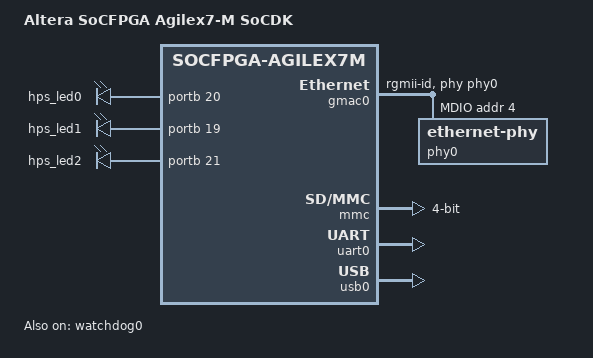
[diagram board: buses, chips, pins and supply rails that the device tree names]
// SPDX-License-Identifier: GPL-2.0
// Copyright (c) 2026 Altera Corporation

#include "socfpga_agilex.dtsi"

/ {
	model = "Altera SoCFPGA Agilex7-M SoCDK";
	compatible = "altr,socfpga-agilex7m-socdk",
		     "altr,socfpga-agilex7m";

	aliases {
		serial0 = &uart0;
		ethernet0 = &gmac0;
		ethernet1 = &gmac1;
		ethernet2 = &gmac2;
	};

	chosen {
		stdout-path = "serial0:115200n8";
	};

	leds {
		compatible = "gpio-leds";
		led-0 {
			label = "hps_led0";
			gpios = <&portb 20 GPIO_ACTIVE_HIGH>;
		};

		led-1 {
			label = "hps_led1";
			gpios = <&portb 19 GPIO_ACTIVE_HIGH>;
		};

		led-2 {
			label = "hps_led2";
			gpios = <&portb 21 GPIO_ACTIVE_HIGH>;
		};
	};

	memory@80000000 {
		device_type = "memory";
		/* We expect the bootloader to fill in the reg */
		reg = <0 0x80000000 0 0>;
	};
};

&gpio1 {
	status = "okay";
};

&gmac0 {
	status = "okay";
	phy-mode = "rgmii-id";
	phy-handle = <&phy0>;

	max-frame-size = <9000>;

	mdio0 {
		#address-cells = <1>;
		#size-cells = <0>;
		compatible = "snps,dwmac-mdio";
		phy0: ethernet-phy@4 {
			reg = <4>;

			txd0-skew-ps = <0>; /* -420ps */
			txd1-skew-ps = <0>; /* -420ps */
			txd2-skew-ps = <0>; /* -420ps */
			txd3-skew-ps = <0>; /* -420ps */
			rxd0-skew-ps = <420>; /* 0ps */
			rxd1-skew-ps = <420>; /* 0ps */
			rxd2-skew-ps = <420>; /* 0ps */
			rxd3-skew-ps = <420>; /* 0ps */
			txen-skew-ps = <0>; /* -420ps */
			txc-skew-ps = <900>; /* 0ps */
			rxdv-skew-ps = <420>; /* 0ps */
			rxc-skew-ps = <1680>; /* 780ps */
		};
	};
};

&mmc {
	status = "okay";
	cap-sd-highspeed;
	broken-cd;
	bus-width = <4>;
	clk-phase-sd-hs = <0>, <135>;
};

&osc1 {
	clock-frequency = <25000000>;
};

&uart0 {
	status = "okay";
};

&usb0 {
	status = "okay";
};

&watchdog0 {
	status = "okay";
};
